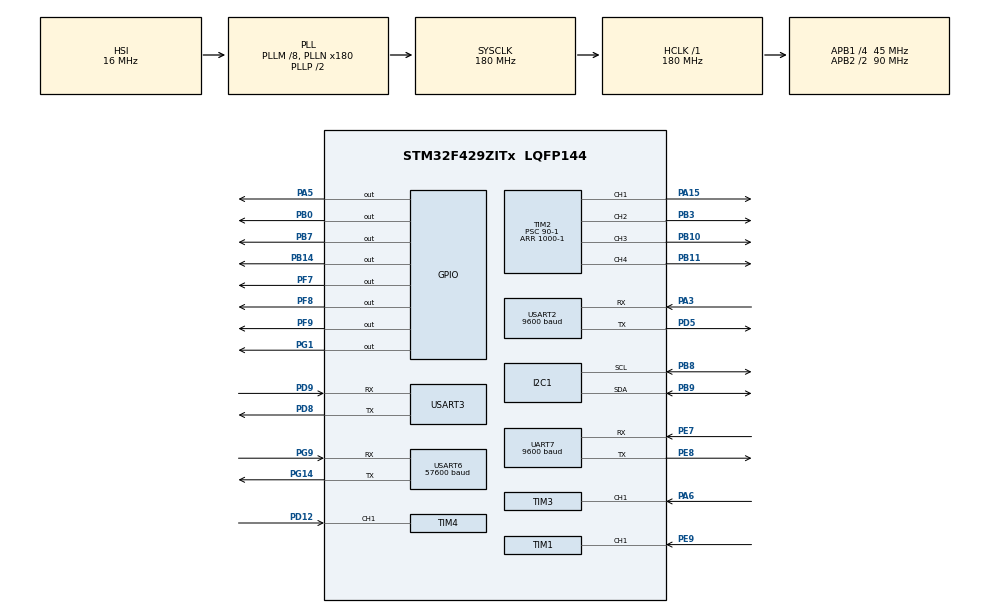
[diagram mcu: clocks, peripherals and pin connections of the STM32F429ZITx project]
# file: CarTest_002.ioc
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Mcu.Family=STM32F4
Mcu.Name=STM32F429ZITx
Mcu.Package=LQFP144
NVIC.PriorityGroup=NVIC_PRIORITYGROUP_4
NVIC.TIM3_IRQn=true\:0\:0\:false\:true\:true\:2\:true\:true\:true
NVIC.UART7_IRQn=true\:0\:0\:false\:false\:true\:true\:true\:true
NVIC.USART2_IRQn=true\:0\:0\:false\:false\:true\:true\:true\:true
NVIC.USART3_IRQn=true\:0\:0\:false\:false\:true\:true\:true\:true
NVIC.USART6_IRQn=true\:0\:0\:false\:true\:true\:1\:true\:true\:true
PA13.Mode=Serial_Wire
PA13.Signal=SYS_JTMS-SWDIO
PA14.Mode=Serial_Wire
PA14.Signal=SYS_JTCK-SWCLK
PA15.Signal=S_TIM2_CH1_ETR
PA3.Mode=Asynchronous
PA3.Signal=USART2_RX
PA5.Signal=GPIO_Output
PA6.Signal=S_TIM3_CH1
PB0.Signal=GPIO_Output
PB10.Signal=S_TIM2_CH3
PB11.Signal=S_TIM2_CH4
PB14.Signal=GPIO_Output
PB3.Signal=S_TIM2_CH2
PB7.Signal=GPIO_Output
PB8.GPIO_Pu=GPIO_PULLUP
PB8.Mode=I2C
PB8.Signal=I2C1_SCL
PB9.GPIO_Pu=GPIO_PULLUP
PB9.Mode=I2C
PB9.Signal=I2C1_SDA
PC14/OSC32_IN.Mode=LSE-External-Oscillator
PC14/OSC32_IN.Signal=RCC_OSC32_IN
PC15/OSC32_OUT.Mode=LSE-External-Oscillator
PC15/OSC32_OUT.Signal=RCC_OSC32_OUT
PD12.Signal=S_TIM4_CH1
PD5.Mode=Asynchronous
PD5.Signal=USART2_TX
PD8.Mode=Asynchronous
PD8.Signal=USART3_TX
PD9.Mode=Asynchronous
PD9.Signal=USART3_RX
PE7.Mode=Asynchronous
PE7.Signal=UART7_RX
PE8.Mode=Asynchronous
PE8.Signal=UART7_TX
PE9.Signal=S_TIM1_CH1
PF7.Signal=GPIO_Output
PF8.Signal=GPIO_Output
PF9.Signal=GPIO_Output
PG1.Signal=GPIO_Output
PG14.Mode=Asynchronous
PG14.Signal=USART6_TX
PG9.Mode=Asynchronous
PG9.Signal=USART6_RX
ProjectManager.HeapSize=0x200
ProjectManager.StackSize=0x400
ProjectManager.TargetToolchain=STM32CubeIDE
RCC.48MHZClocksFreq_Value=90000000
RCC.AHBFreq_Value=180000000
RCC.APB1CLKDivider=RCC_HCLK_DIV4
RCC.APB1Freq_Value=45000000
RCC.APB1TimFreq_Value=90000000
RCC.APB2CLKDivider=RCC_HCLK_DIV2
RCC.APB2Freq_Value=90000000
RCC.APB2TimFreq_Value=180000000
RCC.CortexFreq_Value=180000000
RCC.HCLKFreq_Value=180000000
RCC.HSE_VALUE=25000000
RCC.HSI_VALUE=16000000
RCC.PLLM=8
RCC.PLLN=180
RCC.RCC_RTC_Clock_Source=RCC_RTCCLKSOURCE_LSE
RCC.RCC_RTC_Clock_SourceVirtual=RCC_RTCCLKSOURCE_LSE
RCC.SYSCLKFreq_VALUE=180000000
RCC.SYSCLKSource=RCC_SYSCLKSOURCE_PLLCLK
RCC.VCOOutputFreq_Value=360000000
SH.S_TIM1_CH1.0=TIM1_CH1,Input_Capture1_from_TI1
SH.S_TIM2_CH1_ETR.0=TIM2_CH1,PWM Generation1 CH1
SH.S_TIM2_CH2.0=TIM2_CH2,PWM Generation2 CH2
SH.S_TIM2_CH3.0=TIM2_CH3,PWM Generation3 CH3
SH.S_TIM2_CH4.0=TIM2_CH4,PWM Generation4 CH4
SH.S_TIM3_CH1.0=TIM3_CH1,Input_Capture1_from_TI1
SH.S_TIM4_CH1.0=TIM4_CH1,Input_Capture1_from_TI1
TIM1.Channel-Input_Capture1_from_TI1=TIM_CHANNEL_1
TIM2.Channel-PWM\ Generation1\ CH1=TIM_CHANNEL_1
TIM2.Channel-PWM\ Generation2\ CH2=TIM_CHANNEL_2
TIM2.Channel-PWM\ Generation3\ CH3=TIM_CHANNEL_3
TIM2.Channel-PWM\ Generation4\ CH4=TIM_CHANNEL_4
TIM2.OCMode_PWM-PWM\ Generation1\ CH1=TIM_OCMODE_PWM2
TIM2.OCMode_PWM-PWM\ Generation2\ CH2=TIM_OCMODE_PWM2
TIM2.OCMode_PWM-PWM\ Generation3\ CH3=TIM_OCMODE_PWM2
TIM2.OCMode_PWM-PWM\ Generation4\ CH4=TIM_OCMODE_PWM2
TIM2.Period=1000-1
TIM2.Prescaler=90-1
TIM2.Pulse-PWM\ Generation1\ CH1=0
TIM3.Channel-Input_Capture1_from_TI1=TIM_CHANNEL_1
TIM3.Period=0xffff-1
TIM3.Prescaler=90-1
TIM3.TIM_MasterOutputTrigger=TIM_TRGO_RESET
TIM3.TIM_MasterSlaveMode=TIM_MASTERSLAVEMODE_DISABLE
TIM4.Channel-Input_Capture1_from_TI1=TIM_CHANNEL_1
UART7.BaudRate=9600
UART7.VirtualMode=Asynchronous
USART2.BaudRate=9600
USART2.VirtualMode=VM_ASYNC
USART3.VirtualMode=VM_ASYNC
USART6.BaudRate=57600
USART6.VirtualMode=VM_ASYNC
VP_RTC_VS_RTC_Activate.Mode=RTC_Enabled
VP_TIM1_VS_ClockSourceINT.Mode=Internal
VP_TIM2_VS_ClockSourceINT.Mode=Internal
VP_TIM3_VS_ClockSourceINT.Mode=Internal
VP_TIM4_VS_ClockSourceINT.Mode=Internal
board=custom

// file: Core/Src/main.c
/* USER CODE BEGIN Header */
/**
  ******************************************************************************
  * @file           : main.c
  * @brief          : Main program body
  ******************************************************************************
  * @attention
  *
  * Copyright (c) 2022 STMicroelectronics.
  * All rights reserved.
  *
  * This software is licensed under terms that can be found in the LICENSE file
  * in the root directory of this software component.
  * If no LICENSE file comes with this software, it is provided AS-IS.
  *
  ******************************************************************************
  */
/* USER CODE END Header */
#include "main.h"
#include "i2c.h"
#include "rtc.h"
#include "tim.h"
#include "usart.h"
#include "gpio.h"

void SystemClock_Config(void);
static void MX_NVIC_Init(void);
/* USER CODE BEGIN PFP */
void delay (uint16_t time)
{
	__HAL_TIM_SET_COUNTER(&htim3, 0);
	while (__HAL_TIM_GET_COUNTER (&htim3) < time);
}
void HC_SRO4_Dis(TIM_HandleTypeDef *htim, int num);

/* USER CODE END PFP */

/* USER CODE BEGIN 0 */

//TIM2 clock == APB1
#define TIMCLOCK   90000000
#define PRESCALAR  90

uint32_t IC_Val1[3] = {0};
uint32_t IC_Val2[3] = {0};
uint32_t Difference[3] = {0};
uint32_t Distance[3]  = {0};
int Is_First_Captured[3] = {0};
float refClock = TIMCLOCK/(PRESCALAR);

/* Measure Frequency */
float frequency[3] = {0};

void HCSR04_Read (void)
{
	HAL_GPIO_WritePin(GPIOA, GPIO_PIN_5, 1);	// pull the TRIG pin HIGH
	delay(10);  // wait for 10 us
	HAL_GPIO_WritePin(GPIOA, GPIO_PIN_5, 0);  // pull the TRIG pin low

	__HAL_TIM_ENABLE_IT(&htim3, TIM_IT_CC1);
}

/* USER CODE END 0 */

int main(void)
{

  /* MCU Configuration--------------------------------------------------------*/

  /* Reset of all peripherals, Initializes the Flash interface and the Systick. */
  HAL_Init();

  /* Configure the system clock */
  SystemClock_Config();

  /* Initialize all configured peripherals */
  MX_GPIO_Init();
  MX_RTC_Init();
  MX_USART2_UART_Init();
  MX_USART3_UART_Init();
  MX_UART7_Init();
  MX_I2C1_Init();
  MX_TIM2_Init();
  MX_USART6_UART_Init();
  MX_TIM3_Init();
  MX_TIM1_Init();
  MX_TIM4_Init();

  /* Initialize interrupts */
  MX_NVIC_Init();
  /* USER CODE BEGIN 2 */
  Motor_Init();
  Rasp_Init();
  HAL_TIM_IC_Start_IT(&htim3, TIM_CHANNEL_1);
  /* USER CODE END 2 */

  /* Infinite loop */
  /* USER CODE BEGIN WHILE */
  while (1)
  {
	  HCSR04_Read();
	  HAL_Delay(60);
    /* USER CODE END WHILE */

  }
}

void SystemClock_Config(void)
{
  RCC_OscInitTypeDef RCC_OscInitStruct = {0};
  RCC_ClkInitTypeDef RCC_ClkInitStruct = {0};

  /** Configure the main internal regulator output voltage
  */
  __HAL_RCC_PWR_CLK_ENABLE();
  __HAL_PWR_VOLTAGESCALING_CONFIG(PWR_REGULATOR_VOLTAGE_SCALE1);

  /** Initializes the RCC Oscillators according to the specified parameters
  * in the RCC_OscInitTypeDef structure.
  */
  RCC_OscInitStruct.OscillatorType = RCC_OSCILLATORTYPE_HSI|RCC_OSCILLATORTYPE_LSE;
  RCC_OscInitStruct.LSEState = RCC_LSE_ON;
  RCC_OscInitStruct.HSIState = RCC_HSI_ON;
  RCC_OscInitStruct.HSICalibrationValue = RCC_HSICALIBRATION_DEFAULT;
  RCC_OscInitStruct.PLL.PLLState = RCC_PLL_ON;
  RCC_OscInitStruct.PLL.PLLSource = RCC_PLLSOURCE_HSI;
  RCC_OscInitStruct.PLL.PLLM = 8;
  RCC_OscInitStruct.PLL.PLLN = 180;
  RCC_OscInitStruct.PLL.PLLP = RCC_PLLP_DIV2;
  RCC_OscInitStruct.PLL.PLLQ = 4;
  if (HAL_RCC_OscConfig(&RCC_OscInitStruct) != HAL_OK)
  {
    Error_Handler();
  }

  /** Activate the Over-Drive mode
  */
  if (HAL_PWREx_EnableOverDrive() != HAL_OK)
  {
    Error_Handler();
  }

  /** Initializes the CPU, AHB and APB buses clocks
  */
  RCC_ClkInitStruct.ClockType = RCC_CLOCKTYPE_HCLK|RCC_CLOCKTYPE_SYSCLK
                              |RCC_CLOCKTYPE_PCLK1|RCC_CLOCKTYPE_PCLK2;
  RCC_ClkInitStruct.SYSCLKSource = RCC_SYSCLKSOURCE_PLLCLK;
  RCC_ClkInitStruct.AHBCLKDivider = RCC_SYSCLK_DIV1;
  RCC_ClkInitStruct.APB1CLKDivider = RCC_HCLK_DIV4;
  RCC_ClkInitStruct.APB2CLKDivider = RCC_HCLK_DIV2;

  if (HAL_RCC_ClockConfig(&RCC_ClkInitStruct, FLASH_LATENCY_5) != HAL_OK)
  {
    Error_Handler();
  }
}

/**
  * @brief NVIC Configuration.
  * @retval None
  */
static void MX_NVIC_Init(void)
{
  /* USART6_IRQn interrupt configuration */
  HAL_NVIC_SetPriority(USART6_IRQn, 0, 0);
  HAL_NVIC_EnableIRQ(USART6_IRQn);
  /* TIM3_IRQn interrupt configuration */
  HAL_NVIC_SetPriority(TIM3_IRQn, 0, 0);
  HAL_NVIC_EnableIRQ(TIM3_IRQn);
}

/* USER CODE BEGIN 4 */
void HAL_UART_RxCpltCallback(UART_HandleTypeDef *huart)
{
//	if(huart == &huart2) GPS_UART_CallBack();
//	if(huart->Instance == UART7) Phone_UART_CallBack();
	if(huart->Instance == USART6) Rasp_UART_CallBack();

}
void HAL_TIM_IC_CaptureCallback(TIM_HandleTypeDef *htim)
{
	int timer_flag = 0;
	if (htim->Instance == TIM1) {
		if (htim->Channel == HAL_TIM_ACTIVE_CHANNEL_1)
		{
			timer_flag = 0;
			HC_SRO4_Dis(htim, timer_flag);
		}
	}
	if (htim->Instance == TIM3) {
		if (htim->Channel == HAL_TIM_ACTIVE_CHANNEL_1)
		{
			timer_flag = 1;
			HC_SRO4_Dis(htim, timer_flag);
		}
	}
	if (htim->Instance == TIM4) {
		if (htim->Channel == HAL_TIM_ACTIVE_CHANNEL_1)
		{
			timer_flag = 2;
			HC_SRO4_Dis(htim, timer_flag);
		}
	}

}

// 인수를 TIM 으로 바꿔볼 예정
void HC_SRO4_Dis(TIM_HandleTypeDef *htim, int num) {

	if (Is_First_Captured[num] == 0) // if the first rising edge is not captured
	{
//			IC_Val1 = HAL_TIM_ReadCapturedValue(htim, TIM_CHANNEL_1); // read the first value
		IC_Val1[num] = htim->Instance->CNT; // read the first value
		Is_First_Captured[num] = 1;  // set the first captured as true
		__HAL_TIM_SET_CAPTUREPOLARITY(htim, htim->Channel, TIM_INPUTCHANNELPOLARITY_FALLING);
	}

	else   // If the first rising edge is captured, now we will capture the second edge
	{
//			IC_Val2 = HAL_TIM_ReadCapturedValue(htim, TIM_CHANNEL_1);  // read second value
		IC_Val2[num] = htim->Instance->CNT;

		if (IC_Val2[num] > IC_Val1[num])
		{
			Difference[num] = IC_Val2[num]-IC_Val1[num];
		}

		else if (IC_Val1[num] > IC_Val2[num])
		{

			//TIM 3 is 16bit so overflow is occured if the cnt value is 0xffff
			Difference[num] = (0xffff - IC_Val1[num]) + IC_Val2[num];
		}

		frequency[num] = refClock/Difference[num];
		Distance[num] = Difference[num] * .034/2;

		//__HAL_TIM_SET_COUNTER(&htim3, 0);  // reset the counter
		htim->Instance->CNT = 0;
		__HAL_TIM_SET_CAPTUREPOLARITY(htim, TIM_CHANNEL_1, TIM_INPUTCHANNELPOLARITY_RISING);
		Is_First_Captured[num] = 0; // set it back to false
		//htim is address
		__HAL_TIM_DISABLE_IT(htim, TIM_IT_CC1);
	}
}

//void HAL_TIM_IC_CaptureCallback(TIM_HandleTypeDef *htim)
//{
//	if (htim->Channel == HAL_TIM_ACTIVE_CHANNEL_1)  // if the interrupt source is channel1
//	{
//		if (Is_First_Captured==0) // if the first value is not captured
//		{
//			IC_Val1 = HAL_TIM_ReadCapturedValue(htim, TIM_CHANNEL_1); // read the first value
//			Is_First_Captured = 1;  // set the first captured as true
//			// Now change the polarity to falling edge
//			__HAL_TIM_SET_CAPTUREPOLARITY(htim, TIM_CHANNEL_1, TIM_INPUTCHANNELPOLARITY_FALLING);
//		}
//
//		else if (Is_First_Captured==1)   // if the first is already captured
//		{
//			IC_Val2 = HAL_TIM_ReadCapturedValue(htim, TIM_CHANNEL_1);  // read second value
//			__HAL_TIM_SET_COUNTER(htim, 0);  // reset the counter
//
//			if (IC_Val2 > IC_Val1)
//			{
//				Difference = IC_Val2-IC_Val1;
//			}
//
//			else if (IC_Val1 > IC_Val2)
//			{
//				Difference = (0xffff - IC_Val1) + IC_Val2;
//			}
//
//			Distance = Difference * .034/2;
//			frequency = refClock/Difference;
//			Is_First_Captured = 0; // set it back to false
//
//			// set polarity to rising edge
//			__HAL_TIM_SET_CAPTUREPOLARITY(htim, TIM_CHANNEL_1, TIM_INPUTCHANNELPOLARITY_RISING);
//			__HAL_TIM_DISABLE_IT(&htim3, TIM_IT_CC1);
//		}
//	}
//}
/* USER CODE END 4 */

void Error_Handler(void)
{
  __disable_irq();
  while (1)
  {
  }
}
